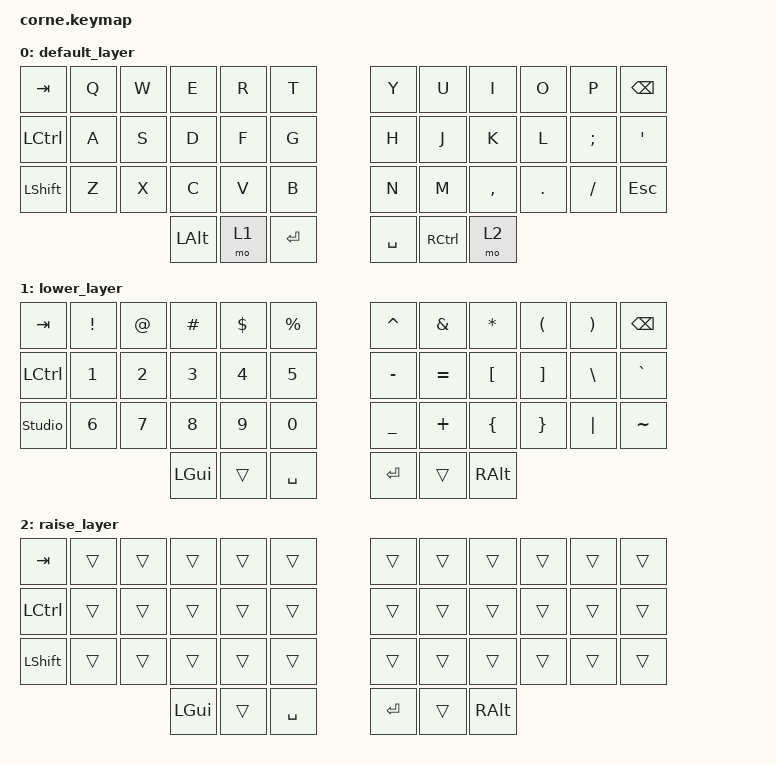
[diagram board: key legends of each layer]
/*
 * Copyright (c) 2020 The ZMK Contributors
 *
 * SPDX-License-Identifier: MIT
 */

#include <behaviors.dtsi>
#include <dt-bindings/zmk/keys.h>
#include <dt-bindings/zmk/bt.h>

/ {
        keymap {
                compatible = "zmk,keymap";

                default_layer {
// -----------------------------------------------------------------------------------------
// |  TAB |  Q  |  W  |  E  |  R  |  T  |   |  Y  |  U   |  I  |  O  |  P  | BKSP |
// | CTRL |  A  |  S  |  D  |  F  |  G  |   |  H  |  J   |  K  |  L  |  ;  |  '   |
// | SHFT |  Z  |  X  |  C  |  V  |  B  |   |  N  |  M   |  ,  |  .  |  /  | ESC  |
//                    | LALT | Layer 1 | ENT |   | SPC | RCTRL  | Layer 2 |
                        bindings = <
   &kp TAB   &kp Q &kp W &kp E &kp R &kp T   &kp Y &kp U  &kp I     &kp O   &kp P    &kp BSPC
   &kp LCTRL &kp A &kp S &kp D &kp F &kp G   &kp H &kp J  &kp K     &kp L   &kp SEMI &kp SQT
   &kp LSHFT &kp Z &kp X &kp C &kp V &kp B   &kp N &kp M  &kp COMMA &kp DOT &kp FSLH &kp ESC
                  &kp LALT &mo 1 &kp RET   &kp SPACE &kp RCTRL &mo 2
                        >;
                };
                lower_layer {
// -----------------------------------------------------------------------------------------
// |  TAB |  !  |  @  |  #  |  $  |  %  |   |  ^  |  &  |  *  |  (  |  )  | BKSP |
// | CTRL |  1  |  2  |  3  |  4  |  5  |   |  -  |  =  |  [  |  ]  |  \  |  `   |
// | SHFT |  6  |  7  |  8  |  9  |  0  |   |  _  |  +  |  {  |  }  | "|" |  ~   |
//                    | GUI |     | SPC |   | ENT |     | ALT |
                        bindings = <
   &kp  TAB       &kp EXCL &kp AT &kp HASH &kp DLLR &kp PRCNT   &kp CARET &kp AMPS  &kp ASTRK &kp LPAR &kp RPAR &kp BSPC
   &kp LCTRL      &kp N1   &kp N2 &kp N3   &kp N4   &kp N5      &kp MINUS &kp EQUAL &kp LBKT  &kp RBKT &kp BSLH &kp GRAVE
   &studio_unlock &kp N6   &kp N7 &kp N8   &kp N9   &kp N0      &kp UNDER &kp PLUS  &kp LBRC  &kp RBRC &kp PIPE &kp TILDE
                             &kp LGUI &trans   &kp SPACE   &kp RET   &trans    &kp RALT
                        >;
                };

                raise_layer {
// -----------------------------------------------------------------------------------------
// |  TAB |  !  |  @  |  #  |  $  |  %  |   |  ^  |  &  |  *  |  (  |  )  | BKSP |
// | CTRL |     |     |     |     |     |   |  -  |  =  |  [  |  ]  |  \  |  `   |
// | SHFT |     |     |     |     |     |   |  _  |  +  |  {  |  }  | "|" |  ~   |
//                    | GUI |     | SPC |   | ENT |     | ALT |
                        bindings = <
   &kp  TAB  &trans   &trans &trans   &trans   &trans      &trans    &trans    &trans    &trans   &trans   &trans
   &kp LCTRL &trans   &trans &trans   &trans   &trans      &trans    &trans    &trans    &trans   &trans   &trans
   &kp LSHFT &trans   &trans &trans   &trans   &trans      &trans    &trans    &trans    &trans   &trans   &trans
                             &kp LGUI &trans   &kp SPACE   &kp RET   &trans    &kp RALT
                        >;
                };
        };
};
